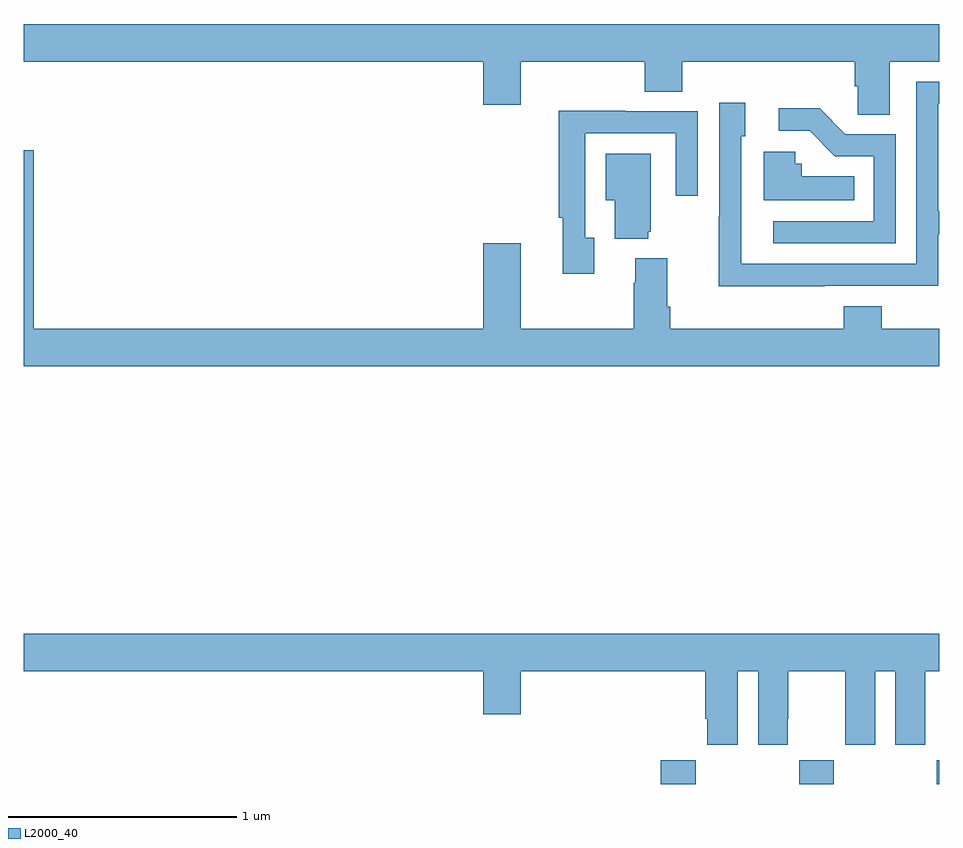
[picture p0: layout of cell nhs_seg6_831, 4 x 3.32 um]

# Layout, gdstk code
import gdstk
lib = gdstk.Library(unit=1e-6, precision=1e-09)
def R(c, l, rs):  # rectangles x0, y0, x1, y1
    for r in rs: c.add(gdstk.rectangle(r[:2], r[2:], *l))
def P(c, l, *ps):  # polygons
    for p in ps: c.add(gdstk.Polygon(p, *l))
L2000_40 = (2000, 40)

nhs_seg6_831 = lib.new_cell('nhs_seg6_831')
R(nhs_seg6_831, L2000_40, [(165.782,957.5,165.935,957.604), (166.389,957.5,166.539,957.604), (166.989,957.5,167,957.604)])
P(nhs_seg6_831, L2000_40, [(163,960.656),(165.008,960.656),(165.008,960.468),(165.172,960.468),(165.172,960.656),(165.713,960.656),(165.713,960.523),(165.878,960.523),(165.878,960.656),(166.631,960.656),(166.631,960.547),(166.644,960.547),(166.644,960.424),(166.783,960.424),(166.783,960.656),(167,960.656),(167,960.82),(163,960.82)],
  [(166.499,959.676),(166.995,959.676),(166.995,959.901),(167,959.901),(167,960.002),(166.995,960.002),(166.995,960.471),(167,960.471),(167,960.567),(166.899,960.567),(166.899,959.772),(166.135,959.772),(166.135,959.996),(166.134,959.996),(166.134,960.33),(166.153,960.33),(166.153,960.475),(166.038,960.475),(166.038,959.981),(166.036,959.981),(166.036,959.675),(166.499,959.675)],
  [(166.809,960.339),(166.59,960.339),(166.477,960.452),(166.299,960.452),(166.299,960.354),(166.433,960.354),(166.544,960.243),(166.713,960.243),(166.713,959.958),(166.275,959.958),(166.275,959.862),(166.809,959.862)],
  [(165.493,959.886),(165.453,959.886),(165.453,960.342),(165.849,960.342),(165.849,960.069),(165.945,960.069),(165.945,960.438),(165.629,960.438),(165.629,960.44),(165.337,960.44),(165.337,959.974),(165.356,959.974),(165.356,959.73),(165.493,959.73)],
  [(167,959.488),(166.748,959.488),(166.748,959.587),(166.583,959.587),(166.583,959.488),(165.824,959.488),(165.824,959.584),(165.811,959.584),(165.811,959.797),(165.671,959.797),(165.671,959.69),(165.664,959.69),(165.664,959.488),(165.172,959.488),(165.172,959.863),(165.008,959.863),(165.008,959.488),(163.043,959.488),(163.043,960.268),(163,960.268),(163,959.324),(167,959.324)],
  [(166.628,960.154),(166.398,960.154),(166.398,960.21),(166.371,960.21),(166.371,960.262),(166.232,960.262),(166.232,960.05),(166.628,960.05)],
  [(165.728,959.913),(165.739,959.913),(165.739,960.253),(165.542,960.253),(165.542,960.05),(165.581,960.05),(165.581,959.882),(165.728,959.882)],
  [(166.12,957.992),(166.208,957.992),(166.208,957.672),(166.338,957.672),(166.338,957.784),(166.339,957.784),(166.339,957.992),(166.589,957.992),(166.589,957.784),(166.59,957.784),(166.59,957.672),(166.72,957.672),(166.72,957.992),(166.808,957.992),(166.808,957.672),(166.938,957.672),(166.938,957.784),(166.939,957.784),(166.939,957.992),(167,957.992),(167,958.156),(163,958.156),(163,957.992),(165.008,957.992),(165.008,957.804),(165.172,957.804),(165.172,957.992),(165.977,957.992),(165.977,957.784),(165.986,957.784),(165.986,957.672),(166.12,957.672)])

lib.write_gds('nhs_seg6_831.gds')
